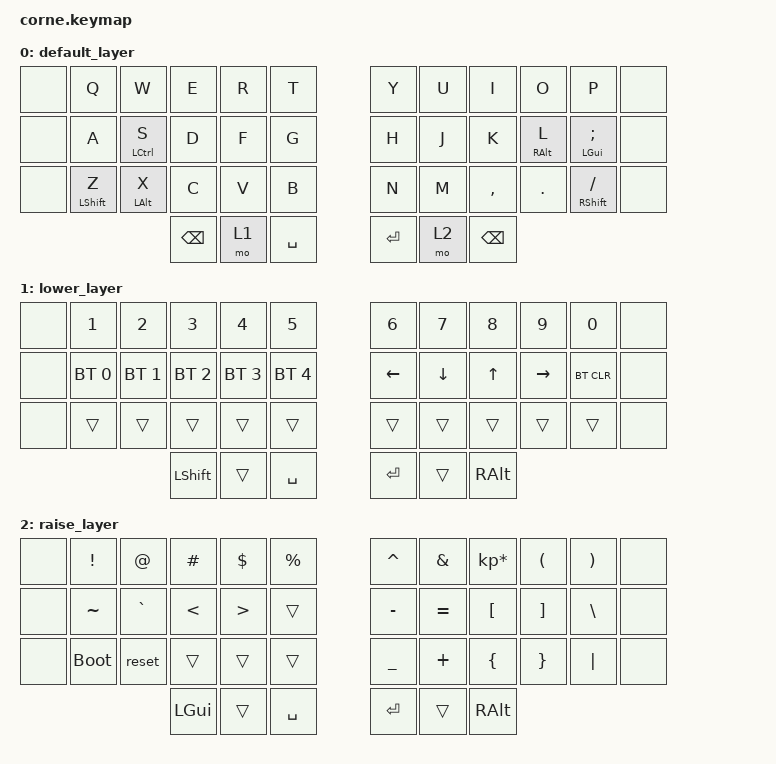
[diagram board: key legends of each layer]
/*
 * Copyright (c) 2020 The ZMK Contributors
 *
 * SPDX-License-Identifier: MIT
 */

#include <behaviors.dtsi>
#include <dt-bindings/zmk/keys.h>
#include <dt-bindings/zmk/bt.h>



/ {
         behaviors {
        hm: homerow_mods {
            compatible = "zmk,behavior-hold-tap";
            label = "HOMEROW_MODS";
            #binding-cells = <2>;
            tapping-term-ms = <200>;
            quick_tap_ms = <0>;
            flavor = "tap-preferred";
            bindings = <&kp>, <&kp>;
        };
    };

        combos {
        compatible = "zmk,combos";
        combo_esc {
            timeout-ms = <27>;
            key-positions = <2 3>;
            bindings = <&kp ESC>;
        };
        combo_tab {
            timeout-ms = <27>;
            key-positions = <1 2>;
            bindings = <&kp TAB>;
        };
         combo_bspc {
             timeout-ms = <27>;
            key-positions = <7 8>;
            bindings = <&kp BSPC>;
        };
    };
};

/ {
        keymap {
                compatible = "zmk,keymap";

                default_layer {
                  
// -----------------------------------------------------------------------------------------
// |      |  Q  |  W  |  E  |  R  |  T  |   |  Y  |  U   |  I  |  O  |  P  |      |
// |      |  A  |  S  |  D  |  F  |  G  |   |  H  |  J   |  K  |  L  |  ;  |      |
// |      |  Z  |  X  |  C  |  V  |  B  |   |  N  |  M   |  ,  |  .  |  /  |      |
//                    | GUI | LWR | SPC |   | ENT | RSE  | BSPC|
                        bindings = <
   &none &kp Q        &kp W       &kp E      &kp R &kp T   &kp Y &kp U  &kp I     &kp O        &kp P          &none
   &none &kp A        &hm LCTRL S &kp D      &kp F &kp G   &kp H &kp J  &kp K     &hm RALT L   &hm LGUI SEMI  &none
   &none &hm LSHFT Z  &hm LALT X  &kp C      &kp V &kp B   &kp N &kp M  &kp COMMA &kp DOT      &hm RSHFT FSLH &none
                  &kp BSPC &mo 1  &kp SPACE                     &kp RET &mo 2 &kp BSPC
                        >;
                };
                lower_layer {
// -----------------------------------------------------------------------------------------
// |      |  1  |  2  |  3  |  4  |  5  |   |  6  |  7  |  8  |  9  |  0  |      |
// |      | BT1 | BT2 | BT3 | BT4 | BT5 |   | LFT | DWN |  UP | RGT |     |      |
// |      | F1  | F2  | F3  | F4  | F5  |   | F6  | F7  |  F8 | F9  | F10 |      |
//                    |LSHFT|     | SPC |   | ENT |     | ALT |
                        bindings = <
   &none &kp N1       &kp N2       &kp N3       &kp N4       &kp N5         &kp N6   &kp N7   &kp N8 &kp N9    &kp N0 &none
   &none &bt BT_SEL 0 &bt BT_SEL 1 &bt BT_SEL 2 &bt BT_SEL 3 &bt BT_SEL 4   &kp LEFT &kp DOWN &kp UP &kp RIGHT &bt BT_CLR &none
   &none &trans       &trans       &trans       &trans       &trans         &trans   &trans   &trans &trans    &trans &none
                          	        &kp LSHFT     &trans       &kp SPACE      &kp RET  &trans   &kp RALT
                        >;
                };

                raise_layer {
// -----------------------------------------------------------------------------------------
// |      |  !  |  @  |  #  |  $  |  %  |   |  ^  |  &  |  *  |  (  |  )  |      |
// |      |TILDE|  `  | <   |  >  |     |   |  -  |  =  |  [  |  ]  |  \  |      |
// |      |boot |reset|     |     |     |   |  _  |  +  |  {  |  }  | "|" |      |
//                    | GUI |     | SPC |   | ENT |     | ALT |
                        bindings = <
   &none &kp EXCL    &kp AT &kp HASH &kp DLLR &kp PRCNT  &kp CARET    &kp AMPS    &kp KP_MULTIPLY  &kp LPAR &kp RPAR &none
   &none &kp TILDE   &kp GRAVE &kp LT   &kp GT   &trans     &kp MINUS    &kp EQUAL   &kp LBKT         &kp RBKT &kp BSLH &none
   &none &bootloader &reset &trans   &trans   &trans     &kp UNDER    &kp PLUS    &kp LBRC         &kp RBRC &kp PIPE &none
                    	     &kp LGUI &trans   &kp SPACE   &kp RET   &trans    &kp RALT
                        >;
                };
        };
};
